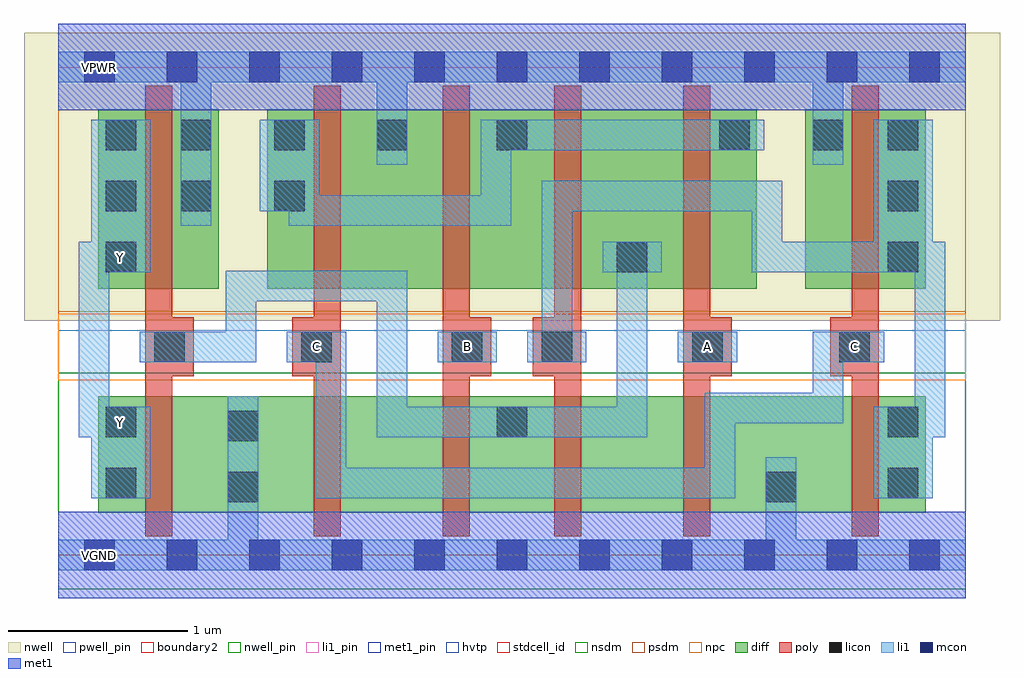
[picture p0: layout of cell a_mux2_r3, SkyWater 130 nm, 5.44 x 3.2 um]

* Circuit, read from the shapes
.subckt a_mux2_r3 A B C VGND VNB VPB VPWR Y
XM1 VGND n1 Y VNB sky130_fd_pr__nfet_01v8 w=0.65 l=0.15
XM2 n2 C VGND VNB sky130_fd_pr__nfet_01v8 w=0.65 l=0.15
XM3 n1 B n2 VNB sky130_fd_pr__nfet_01v8 w=0.65 l=0.15
XM4 n3 n4 n1 VNB sky130_fd_pr__nfet_01v8 w=0.65 l=0.15
XM5 VGND A n3 VNB sky130_fd_pr__nfet_01v8 w=0.65 l=0.15
XM6 n4 C VGND VNB sky130_fd_pr__nfet_01v8 w=0.65 l=0.15
XM7 VPWR n1 Y VPB sky130_fd_pr__pfet_01v8_hvt w=1 l=0.15
XM8 VPWR C n5 VPB sky130_fd_pr__pfet_01v8_hvt w=1 l=0.15
XM9 n5 B VPWR VPB sky130_fd_pr__pfet_01v8_hvt w=1 l=0.15
XM10 n1 n4 n5 VPB sky130_fd_pr__pfet_01v8_hvt w=1 l=0.15
XM11 n5 A n1 VPB sky130_fd_pr__pfet_01v8_hvt w=1 l=0.15
XM12 n4 C VPWR VPB sky130_fd_pr__pfet_01v8_hvt w=1 l=0.15
.ends

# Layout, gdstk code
import gdstk
lib = gdstk.Library(unit=1e-6, precision=1e-09)
def R(c, l, rs):  # rectangles x0, y0, x1, y1
    for r in rs: c.add(gdstk.rectangle(r[:2], r[2:], *l))
def A(c, l, x, y, w, h, nx, ny, dx, dy):  # array of equal rectangles
    R(c, l, [(x+i*dx, y+j*dy, x+i*dx+w, y+j*dy+h) for i in range(nx) for j in range(ny)])
nwell_pin = (64, 16)
nwell = (64, 20)
diff = (65, 20)
poly = (66, 20)
licon = (66, 44)
li1_pin = (67, 16)
li1 = (67, 20)
mcon = (67, 44)
met1_pin = (68, 16)
met1 = (68, 20)
hvtp = (78, 44)
stdcell_id = (81, 4)
nsdm = (93, 44)
psdm = (94, 20)
npc = (95, 20)
pwell_pin = (122, 16)
boundary2 = (236, 0)

a_mux2_r3 = lib.new_cell('a_mux2_r3')
R(a_mux2_r3, nwell_pin, [(0.145,2.635,0.315,2.805)])
R(a_mux2_r3, nwell, [(-0.19,1.305,5.25,2.91)])
R(a_mux2_r3, diff, [(0.225,0.235,1.03,0.885), (1.03,0.235,1.86,0.885), (1.86,0.235,2.53,0.885), (2.53,0.235,3.2,0.885), (3.2,0.235,4.03,0.885), (4.03,0.235,4.835,0.885), (0.225,1.485,0.895,2.485), (1.165,1.485,1.86,2.485), (1.86,1.485,2.53,2.485), (2.53,1.485,3.2,2.485), (3.2,1.485,3.895,2.485), (4.165,1.485,4.835,2.485)])
R(a_mux2_r3, poly, [(0.485,0.105,0.635,2.615), (1.425,0.105,1.575,2.615), (2.145,0.105,2.295,2.615), (2.765,0.105,2.915,2.615), (3.485,0.105,3.635,2.615), (4.425,0.105,4.575,2.615), (0.485,0.995,0.755,1.325), (1.305,0.995,1.575,1.325), (2.145,0.995,2.415,1.325), (2.645,0.995,2.915,1.325), (3.485,0.995,3.755,1.325), (4.305,0.995,4.575,1.325)])
A(a_mux2_r3, licon, 0.265, 0.655, 0.17, 0.17, 3, 1, 2.18, 0)
A(a_mux2_r3, licon, 0.265, 1.575, 0.17, 0.17, 1, 3, 0, 0.34)
A(a_mux2_r3, licon, 4.625, 1.575, 0.17, 0.17, 1, 3, 0, 0.34)
R(a_mux2_r3, licon, [(0.945,0.295,1.115,0.465), (3.945,0.295,4.115,0.465), (0.265,0.315,0.435,0.485), (4.625,0.315,4.795,0.485), (0.945,0.635,1.115,0.805), (0.535,1.075,0.705,1.245), (1.355,1.075,1.525,1.245), (2.195,1.075,2.365,1.245), (2.695,1.075,2.865,1.245), (3.535,1.075,3.705,1.245), (4.355,1.075,4.525,1.245), (3.115,1.575,3.285,1.745), (0.685,1.915,0.855,2.085), (1.205,1.915,1.375,2.085), (0.685,2.255,0.855,2.425), (1.205,2.255,1.375,2.425), (1.775,2.255,1.945,2.425), (2.445,2.255,2.615,2.425), (3.685,2.255,3.855,2.425), (4.205,2.255,4.375,2.425)])
R(a_mux2_r3, li1_pin, [(0.265,0.655,0.435,0.825), (1.355,1.075,1.525,1.245), (2.195,1.075,2.365,1.245), (3.535,1.075,3.705,1.245), (4.355,1.075,4.525,1.245), (0.265,1.575,0.435,1.745)])
A(a_mux2_r3, li1, 0.185, 0.655, 0.33, 0.17, 3, 1, 2.18, 0)
A(a_mux2_r3, li1, 1.125, 2.255, 0.33, 0.17, 3, 1, 1.24, 0)
R(a_mux2_r3, li1, [(0,-0.085,5.06,0.085), (0.945,-0.085,1.115,0.545), (3.945,-0.085,4.115,0.545), (0.945,0.295,1.115,0.885), (0.185,0.315,0.515,0.825), (1.435,0.315,1.605,1.245), (1.435,0.315,3.775,0.485), (3.605,0.315,3.775,0.905), (4.545,0.315,4.875,0.825), (0.115,0.655,0.355,0.825), (0.115,0.655,0.285,1.745), (1.775,0.655,1.945,1.585), (1.775,0.655,2.535,0.825), (2.525,0.655,3.285,0.825), (3.115,0.655,3.285,1.745), (4.705,0.655,4.945,0.825), (4.775,0.655,4.945,1.745), (3.605,0.735,4.375,0.905), (4.205,0.735,4.375,1.245), (0.455,1.075,0.785,1.245), (0.615,1.075,1.105,1.245), (0.785,1.075,0.935,1.245), (0.785,1.075,0.935,1.245), (0.785,1.075,0.935,1.245), (0.785,1.075,0.935,1.245), (0.935,1.075,1.105,1.585), (1.275,1.075,1.605,1.245), (2.115,1.075,2.445,1.245), (2.615,1.075,2.945,1.245), (2.695,1.075,2.865,2.085), (3.455,1.075,3.785,1.245), (4.205,1.075,4.445,1.245), (4.275,1.075,4.605,1.245), (0.935,1.415,1.945,1.585), (0.115,1.575,0.355,1.745), (0.185,1.575,0.515,1.745), (0.185,1.575,0.515,2.085), (3.035,1.575,3.365,1.745), (3.865,1.575,4.035,2.085), (3.865,1.575,4.715,1.745), (4.545,1.575,4.875,1.745), (4.545,1.575,4.875,2.085), (4.705,1.575,4.945,1.745), (4.715,1.575,4.775,1.745), (4.715,1.575,4.775,1.745), (4.715,1.575,4.775,1.745), (4.715,1.575,4.775,1.745), (0.685,1.835,0.855,2.425), (1.285,1.835,1.455,2.425), (1.285,1.835,2.525,2.005), (2.355,1.835,2.525,2.425), (0.185,1.915,0.515,2.425), (1.125,1.915,1.455,2.425), (2.695,1.915,4.035,2.085), (4.545,1.915,4.875,2.425), (0.685,2.175,0.855,2.805), (1.775,2.175,1.945,2.805), (4.205,2.175,4.375,2.805), (2.355,2.255,2.535,2.425), (2.525,2.255,3.775,2.425), (0,2.635,5.06,2.805)])
A(a_mux2_r3, mcon, 0.145, -0.085, 0.17, 0.17, 11, 2, 0.46, 2.72)
R(a_mux2_r3, met1_pin, [(0.145,-0.085,0.315,0.085), (0.145,2.635,0.315,2.805)])
R(a_mux2_r3, met1, [(0,-0.24,5.06,0.24), (0,2.48,5.06,2.96)])
R(a_mux2_r3, hvtp, [(0,1.25,5.06,2.72)])
R(a_mux2_r3, stdcell_id, [(0,0,5.06,2.72)])
R(a_mux2_r3, nsdm, [(0,-0.19,5.06,1.015)])
R(a_mux2_r3, psdm, [(0,1.355,5.06,2.91)])
R(a_mux2_r3, npc, [(0,0.975,5.06,1.345)])
R(a_mux2_r3, pwell_pin, [(0.145,-0.085,0.315,0.085)])
R(a_mux2_r3, boundary2, [(0,0,5.06,2.72)])
a_mux2_r3.add(gdstk.Label('A', (3.62,1.16), layer=67, texttype=5))
a_mux2_r3.add(gdstk.Label('B', (2.28,1.16), layer=67, texttype=5))
a_mux2_r3.add(gdstk.Label('C', (1.44,1.16), layer=67, texttype=5))
a_mux2_r3.add(gdstk.Label('C', (4.44,1.16), layer=67, texttype=5))
a_mux2_r3.add(gdstk.Label('Y', (0.35,0.74), layer=67, texttype=5))
a_mux2_r3.add(gdstk.Label('Y', (0.35,1.66), layer=67, texttype=5))
a_mux2_r3.add(gdstk.Label('VGND', (0.23,0), layer=68, texttype=5))
a_mux2_r3.add(gdstk.Label('VPWR', (0.23,2.72), layer=68, texttype=5))
a_mux2_r3.add(gdstk.Label('VPB', (0.23,2.72), layer=64, texttype=5))
a_mux2_r3.add(gdstk.Label('VNB', (0.23,0), layer=64, texttype=59))

lib.write_gds('a_mux2_r3.gds')
